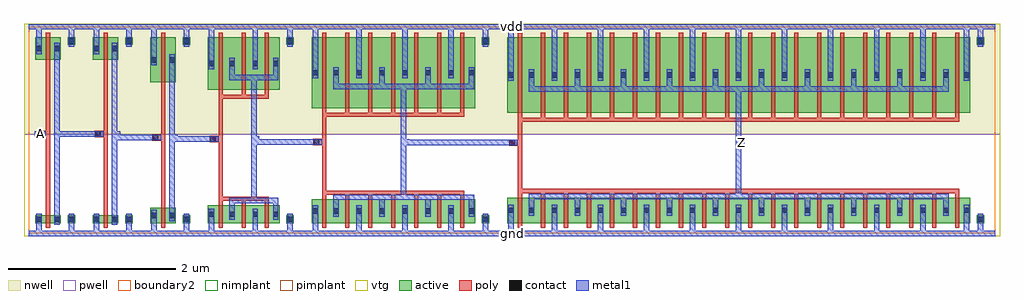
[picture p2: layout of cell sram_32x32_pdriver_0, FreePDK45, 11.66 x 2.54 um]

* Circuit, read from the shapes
.subckt sram_32x32_pdriver_0 A Z gnd vdd
M1 sram_32x32_pinv_6_1/A A gnd gnd nfet w=0.09u l=0.05u
M2 sram_32x32_pinv_7_2/A sram_32x32_pinv_6_1/A gnd gnd nfet w=0.09u l=0.05u
M3 sram_32x32_pinv_8_3/A sram_32x32_pinv_7_2/A gnd gnd nfet w=0.18u l=0.05u
M4 sram_32x32_pinv_9_4/A sram_32x32_pinv_8_3/A gnd gnd nfet w=0.21u l=0.05u m=3
M5 sram_32x32_pinv_10_5/A sram_32x32_pinv_9_4/A gnd gnd nfet w=0.2825u l=0.05u m=7
M6 Z sram_32x32_pinv_10_5/A gnd gnd nfet w=0.3025u l=0.05u m=20
M7 sram_32x32_pinv_6_1/A A vdd vdd pfet w=0.27u l=0.05u
M8 sram_32x32_pinv_7_2/A sram_32x32_pinv_6_1/A vdd vdd pfet w=0.27u l=0.05u
M9 sram_32x32_pinv_8_3/A sram_32x32_pinv_7_2/A vdd vdd pfet w=0.54u l=0.05u
M10 sram_32x32_pinv_9_4/A sram_32x32_pinv_8_3/A vdd vdd pfet w=0.63u l=0.05u m=3
M11 sram_32x32_pinv_10_5/A sram_32x32_pinv_9_4/A vdd vdd pfet w=0.8475u l=0.05u m=7
M12 Z sram_32x32_pinv_10_5/A vdd vdd pfet w=0.905u l=0.05u m=20
.ends

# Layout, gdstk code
import gdstk
lib = gdstk.Library(unit=1e-6, precision=5e-10)
def R(c, l, rs):  # rectangles x0, y0, x1, y1
    for r in rs: c.add(gdstk.rectangle(r[:2], r[2:], *l))
def A(c, l, x, y, w, h, nx, ny, dx, dy):  # array of equal rectangles
    R(c, l, [(x+i*dx, y+j*dy, x+i*dx+w, y+j*dy+h) for i in range(nx) for j in range(ny)])
active = (1, 0)
pwell = (2, 0)
nwell = (3, 0)
nimplant = (4, 0)
pimplant = (5, 0)
vtg = (6, 0)
poly = (9, 0)
contact = (10, 0)
metal1 = (11, 0)
boundary2 = (239, 0)

sram_32x32_contact_11 = lib.new_cell('sram_32x32_contact_11')
R(sram_32x32_contact_11, active, [(0,0.0225,0.09,0.1125)])
R(sram_32x32_contact_11, nwell, [(-0.055,-0.0325,0.145,0.1675)])
R(sram_32x32_contact_11, pimplant, [(0,0.0225,0.09,0.1125)])
R(sram_32x32_contact_11, contact, [(0.0125,0.035,0.0775,0.1)])
R(sram_32x32_contact_11, metal1, [(0.0125,0,0.0775,0.135)])
R(sram_32x32_contact_11, boundary2, [(-0.055,-0.0325,0.145,0.1675)])

sram_32x32_pmos_m1_w0_27 = lib.new_cell('sram_32x32_pmos_m1_w0_270_sm1_dm1_da_p')
R(sram_32x32_pmos_m1_w0_27, active, [(0,0,0.305,0.27)])
R(sram_32x32_pmos_m1_w0_27, nwell, [(-0.08,-0.08,0.385,0.35)])
R(sram_32x32_pmos_m1_w0_27, pimplant, [(0,0,0.305,0.27)])
R(sram_32x32_pmos_m1_w0_27, vtg, [(-0.08,-0.08,0.385,0.35)])
R(sram_32x32_pmos_m1_w0_27, poly, [(0.1275,-0.055,0.1775,0.325), (0.1275,-0.055,0.1775,0.325)])
R(sram_32x32_pmos_m1_w0_27, metal1, [(0.0125,0.0675,0.0775,0.2025), (0.2275,0.0675,0.2925,0.2025)])
R(sram_32x32_pmos_m1_w0_27, boundary2, [(-0.08,-0.08,0.385,0.35)])
sram_32x32_pmos_m1_w0_27.add(gdstk.Reference(sram_32x32_contact_11, (0,0.0675)))
sram_32x32_pmos_m1_w0_27.add(gdstk.Reference(sram_32x32_contact_11, (0.215,0.0675)))
sram_32x32_pmos_m1_w0_27.add(gdstk.Label('G', (0.1525,0.135), layer=9, texttype=0))
sram_32x32_pmos_m1_w0_27.add(gdstk.Label('S', (0.045,0.135), layer=11, texttype=0))
sram_32x32_pmos_m1_w0_27.add(gdstk.Label('D', (0.26,0.135), layer=11, texttype=0))

sram_32x32_contact_10 = lib.new_cell('sram_32x32_contact_10')
R(sram_32x32_contact_10, active, [(0,0.0225,0.09,0.1125)])
R(sram_32x32_contact_10, pwell, [(-0.055,-0.0325,0.145,0.1675)])
R(sram_32x32_contact_10, nimplant, [(0,0.0225,0.09,0.1125)])
R(sram_32x32_contact_10, contact, [(0.0125,0.035,0.0775,0.1)])
R(sram_32x32_contact_10, metal1, [(0.0125,0,0.0775,0.135)])
R(sram_32x32_contact_10, boundary2, [(-0.055,-0.0325,0.145,0.1675)])

sram_32x32_nmos_m1_w0_09 = lib.new_cell('sram_32x32_nmos_m1_w0_090_sm1_dm1_da_p')
R(sram_32x32_nmos_m1_w0_09, active, [(0,0,0.305,0.09)])
R(sram_32x32_nmos_m1_w0_09, pwell, [(-0.08,-0.08,0.385,0.17)])
R(sram_32x32_nmos_m1_w0_09, nimplant, [(0,0,0.305,0.09)])
R(sram_32x32_nmos_m1_w0_09, vtg, [(-0.08,-0.08,0.385,0.17)])
R(sram_32x32_nmos_m1_w0_09, poly, [(0.1275,-0.055,0.1775,0.145), (0.1275,-0.055,0.1775,0.145)])
R(sram_32x32_nmos_m1_w0_09, metal1, [(0.0125,-0.0225,0.0775,0.1125), (0.2275,-0.0225,0.2925,0.1125)])
R(sram_32x32_nmos_m1_w0_09, boundary2, [(-0.08,-0.08,0.385,0.17)])
sram_32x32_nmos_m1_w0_09.add(gdstk.Reference(sram_32x32_contact_10, (0,-0.0225)))
sram_32x32_nmos_m1_w0_09.add(gdstk.Reference(sram_32x32_contact_10, (0.215,-0.0225)))
sram_32x32_nmos_m1_w0_09.add(gdstk.Label('G', (0.1525,0.045), layer=9, texttype=0))
sram_32x32_nmos_m1_w0_09.add(gdstk.Label('S', (0.045,0.045), layer=11, texttype=0))
sram_32x32_nmos_m1_w0_09.add(gdstk.Label('D', (0.26,0.045), layer=11, texttype=0))

sram_32x32_contact_12 = lib.new_cell('sram_32x32_contact_12')
R(sram_32x32_contact_12, active, [(0,0.0225,0.09,0.1125)])
R(sram_32x32_contact_12, nwell, [(-0.055,-0.0325,0.145,0.1675)])
R(sram_32x32_contact_12, nimplant, [(0,0.0225,0.09,0.1125)])
R(sram_32x32_contact_12, contact, [(0.0125,0.035,0.0775,0.1)])
R(sram_32x32_contact_12, metal1, [(0.0125,0,0.0775,0.135)])
R(sram_32x32_contact_12, boundary2, [(-0.055,-0.0325,0.145,0.1675)])

sram_32x32_contact_13 = lib.new_cell('sram_32x32_contact_13')
R(sram_32x32_contact_13, active, [(0,0.0225,0.09,0.1125)])
R(sram_32x32_contact_13, pwell, [(-0.055,-0.0325,0.145,0.1675)])
R(sram_32x32_contact_13, pimplant, [(0,0.0225,0.09,0.1125)])
R(sram_32x32_contact_13, contact, [(0.0125,0.035,0.0775,0.1)])
R(sram_32x32_contact_13, metal1, [(0.0125,0,0.0775,0.135)])
R(sram_32x32_contact_13, boundary2, [(-0.055,-0.0325,0.145,0.1675)])

sram_32x32_contact_14 = lib.new_cell('sram_32x32_contact_14')
R(sram_32x32_contact_14, poly, [(0.03,0,0.105,0.075)])
R(sram_32x32_contact_14, contact, [(0.035,0.005,0.1,0.07)])
R(sram_32x32_contact_14, metal1, [(0,0.005,0.135,0.07)])
R(sram_32x32_contact_14, boundary2, [(0,0,0.135,0.075)])

sram_32x32_pinv_6 = lib.new_cell('sram_32x32_pinv_6')
R(sram_32x32_pinv_6, pwell, [(-0.055,-0.0325,0.7425,1.185)])
R(sram_32x32_pinv_6, nwell, [(-0.055,1.185,0.7425,2.505)])
R(sram_32x32_pinv_6, vtg, [(-0.055,-0.0325,0.7425,1.185), (-0.055,1.185,0.7425,2.505)])
R(sram_32x32_pinv_6, poly, [(0.2075,0.27,0.2575,2.02), (0.14,1.1525,0.2075,1.2275)])
R(sram_32x32_pinv_6, metal1, [(0,-0.0325,0.6875,0.0325), (0.0925,-0.0325,0.1575,0.1025), (0.4775,0,0.5425,0.17), (0.3075,0.1025,0.3725,2.2775), (0.0725,1.1575,0.2075,1.2225), (0.34,1.1575,0.405,1.2225), (0.0925,2.1425,0.1575,2.5025), (0.4775,2.3,0.5425,2.47), (0,2.4375,0.6875,2.5025)])
R(sram_32x32_pinv_6, boundary2, [(0,0,0.6875,2.47), (0,0,0.6875,2.47)])
sram_32x32_pinv_6.add(gdstk.Reference(sram_32x32_pmos_m1_w0_27, (0.08,2.075)))
sram_32x32_pinv_6.add(gdstk.Reference(sram_32x32_nmos_m1_w0_09, (0.08,0.125)))
sram_32x32_pinv_6.add(gdstk.Reference(sram_32x32_contact_12, (0.465,2.2325)))
sram_32x32_pinv_6.add(gdstk.Reference(sram_32x32_contact_13, (0.465,0.1025)))
sram_32x32_pinv_6.add(gdstk.Reference(sram_32x32_contact_14, (0.0725,1.1525)))
sram_32x32_pinv_6.add(gdstk.Label('A', (0.14,1.19), layer=11, texttype=0))
sram_32x32_pinv_6.add(gdstk.Label('Z', (0.3725,1.19), layer=11, texttype=0))
sram_32x32_pinv_6.add(gdstk.Label('gnd', (0.344,0), layer=11, texttype=0))
sram_32x32_pinv_6.add(gdstk.Label('vdd', (0.344,2.47), layer=11, texttype=0))

sram_32x32_pmos_m1_w0_54 = lib.new_cell('sram_32x32_pmos_m1_w0_540_sm1_dm1_da_p')
R(sram_32x32_pmos_m1_w0_54, active, [(0,0,0.305,0.54)])
R(sram_32x32_pmos_m1_w0_54, nwell, [(-0.08,-0.08,0.385,0.62)])
R(sram_32x32_pmos_m1_w0_54, pimplant, [(0,0,0.305,0.54)])
R(sram_32x32_pmos_m1_w0_54, vtg, [(-0.08,-0.08,0.385,0.62)])
R(sram_32x32_pmos_m1_w0_54, poly, [(0.1275,-0.055,0.1775,0.595), (0.1275,-0.055,0.1775,0.595)])
R(sram_32x32_pmos_m1_w0_54, metal1, [(0.0125,0.2025,0.0775,0.3375), (0.2275,0.2025,0.2925,0.3375)])
R(sram_32x32_pmos_m1_w0_54, boundary2, [(-0.08,-0.08,0.385,0.62)])
sram_32x32_pmos_m1_w0_54.add(gdstk.Reference(sram_32x32_contact_11, (0,0.2025)))
sram_32x32_pmos_m1_w0_54.add(gdstk.Reference(sram_32x32_contact_11, (0.215,0.2025)))
sram_32x32_pmos_m1_w0_54.add(gdstk.Label('G', (0.1525,0.27), layer=9, texttype=0))
sram_32x32_pmos_m1_w0_54.add(gdstk.Label('S', (0.045,0.27), layer=11, texttype=0))
sram_32x32_pmos_m1_w0_54.add(gdstk.Label('D', (0.26,0.27), layer=11, texttype=0))

sram_32x32_nmos_m1_w0_18 = lib.new_cell('sram_32x32_nmos_m1_w0_180_sm1_dm1_da_p')
R(sram_32x32_nmos_m1_w0_18, active, [(0,0,0.305,0.18)])
R(sram_32x32_nmos_m1_w0_18, pwell, [(-0.08,-0.08,0.385,0.26)])
R(sram_32x32_nmos_m1_w0_18, nimplant, [(0,0,0.305,0.18)])
R(sram_32x32_nmos_m1_w0_18, vtg, [(-0.08,-0.08,0.385,0.26)])
R(sram_32x32_nmos_m1_w0_18, poly, [(0.1275,-0.055,0.1775,0.235), (0.1275,-0.055,0.1775,0.235)])
R(sram_32x32_nmos_m1_w0_18, metal1, [(0.0125,0.0225,0.0775,0.1575), (0.2275,0.0225,0.2925,0.1575)])
R(sram_32x32_nmos_m1_w0_18, boundary2, [(-0.08,-0.08,0.385,0.26)])
sram_32x32_nmos_m1_w0_18.add(gdstk.Reference(sram_32x32_contact_10, (0,0.0225)))
sram_32x32_nmos_m1_w0_18.add(gdstk.Reference(sram_32x32_contact_10, (0.215,0.0225)))
sram_32x32_nmos_m1_w0_18.add(gdstk.Label('G', (0.1525,0.09), layer=9, texttype=0))
sram_32x32_nmos_m1_w0_18.add(gdstk.Label('S', (0.045,0.09), layer=11, texttype=0))
sram_32x32_nmos_m1_w0_18.add(gdstk.Label('D', (0.26,0.09), layer=11, texttype=0))

sram_32x32_pinv_7 = lib.new_cell('sram_32x32_pinv_7')
R(sram_32x32_pinv_7, pwell, [(-0.055,-0.0325,0.7425,1.185)])
R(sram_32x32_pinv_7, nwell, [(-0.055,1.185,0.7425,2.505)])
R(sram_32x32_pinv_7, vtg, [(-0.055,-0.0325,0.7425,1.185), (-0.055,1.185,0.7425,2.505)])
R(sram_32x32_pinv_7, poly, [(0.2075,0.36,0.2575,1.75), (0.14,1.1075,0.2075,1.1825)])
R(sram_32x32_pinv_7, metal1, [(0,-0.0325,0.6875,0.0325), (0.0925,-0.0325,0.1575,0.1475), (0.4775,0,0.5425,0.17), (0.3075,0.1475,0.3725,2.1425), (0.0725,1.1125,0.2075,1.1775), (0.34,1.1125,0.405,1.1775), (0.0925,2.0075,0.1575,2.5025), (0.4775,2.3,0.5425,2.47), (0,2.4375,0.6875,2.5025)])
R(sram_32x32_pinv_7, boundary2, [(0,0,0.6875,2.47), (0,0,0.6875,2.47)])
sram_32x32_pinv_7.add(gdstk.Reference(sram_32x32_pmos_m1_w0_54, (0.08,1.805)))
sram_32x32_pinv_7.add(gdstk.Reference(sram_32x32_nmos_m1_w0_18, (0.08,0.125)))
sram_32x32_pinv_7.add(gdstk.Reference(sram_32x32_contact_12, (0.465,2.2325)))
sram_32x32_pinv_7.add(gdstk.Reference(sram_32x32_contact_13, (0.465,0.1025)))
sram_32x32_pinv_7.add(gdstk.Reference(sram_32x32_contact_14, (0.0725,1.1075)))
sram_32x32_pinv_7.add(gdstk.Label('A', (0.14,1.145), layer=11, texttype=0))
sram_32x32_pinv_7.add(gdstk.Label('Z', (0.3725,1.145), layer=11, texttype=0))
sram_32x32_pinv_7.add(gdstk.Label('gnd', (0.344,0), layer=11, texttype=0))
sram_32x32_pinv_7.add(gdstk.Label('vdd', (0.344,2.47), layer=11, texttype=0))

sram_32x32_pmos_m3_w0_63 = lib.new_cell('sram_32x32_pmos_m3_w0_630_sm1_dm1_da_p')
R(sram_32x32_pmos_m3_w0_63, active, [(0,0,0.855,0.63)])
R(sram_32x32_pmos_m3_w0_63, nwell, [(-0.08,-0.08,0.935,0.71)])
R(sram_32x32_pmos_m3_w0_63, pimplant, [(0,0,0.855,0.63)])
R(sram_32x32_pmos_m3_w0_63, vtg, [(-0.08,-0.08,0.935,0.71)])
A(sram_32x32_pmos_m3_w0_63, poly, 0.1275, -0.055, 0.05, 0.74, 3, 1, 0.275, 0)
R(sram_32x32_pmos_m3_w0_63, poly, [(0.1275,-0.105,0.7275,-0.055)])
R(sram_32x32_pmos_m3_w0_63, metal1, [(0.2575,0.1175,0.8425,0.1825), (0.2575,0.15,0.3225,0.315), (0.7775,0.15,0.8425,0.315), (0.0125,0.2475,0.0775,0.3825), (0.5325,0.2475,0.5975,0.3825)])
R(sram_32x32_pmos_m3_w0_63, boundary2, [(-0.08,-0.105,0.935,0.71)])
sram_32x32_pmos_m3_w0_63.add(gdstk.Reference(sram_32x32_contact_11, (0,0.2475)))
sram_32x32_pmos_m3_w0_63.add(gdstk.Reference(sram_32x32_contact_11, (0.245,0.2475)))
sram_32x32_pmos_m3_w0_63.add(gdstk.Reference(sram_32x32_contact_11, (0.52,0.2475)))
sram_32x32_pmos_m3_w0_63.add(gdstk.Reference(sram_32x32_contact_11, (0.765,0.2475)))
sram_32x32_pmos_m3_w0_63.add(gdstk.Label('G', (0.4275,-0.08), layer=9, texttype=0))
sram_32x32_pmos_m3_w0_63.add(gdstk.Label('S', (0.045,0.315), layer=11, texttype=0))
sram_32x32_pmos_m3_w0_63.add(gdstk.Label('S', (0.565,0.315), layer=11, texttype=0))
sram_32x32_pmos_m3_w0_63.add(gdstk.Label('D', (0.55,0.15), layer=11, texttype=0))

sram_32x32_nmos_m3_w0_21 = lib.new_cell('sram_32x32_nmos_m3_w0_210_sm1_dm1_da_p')
R(sram_32x32_nmos_m3_w0_21, active, [(0,0,0.855,0.21)])
R(sram_32x32_nmos_m3_w0_21, pwell, [(-0.08,-0.08,0.935,0.29)])
R(sram_32x32_nmos_m3_w0_21, nimplant, [(0,0,0.855,0.21)])
R(sram_32x32_nmos_m3_w0_21, vtg, [(-0.08,-0.08,0.935,0.29)])
A(sram_32x32_nmos_m3_w0_21, poly, 0.1275, -0.055, 0.05, 0.32, 3, 1, 0.275, 0)
R(sram_32x32_nmos_m3_w0_21, poly, [(0.1275,0.265,0.7275,0.315)])
R(sram_32x32_nmos_m3_w0_21, metal1, [(0.0125,0.0375,0.0775,0.1725), (0.5325,0.0375,0.5975,0.1725), (0.2575,0.105,0.3225,0.27), (0.7775,0.105,0.8425,0.27), (0.2575,0.2375,0.8425,0.3025)])
R(sram_32x32_nmos_m3_w0_21, boundary2, [(-0.08,-0.08,0.935,0.315)])
sram_32x32_nmos_m3_w0_21.add(gdstk.Reference(sram_32x32_contact_10, (0,0.0375)))
sram_32x32_nmos_m3_w0_21.add(gdstk.Reference(sram_32x32_contact_10, (0.245,0.0375)))
sram_32x32_nmos_m3_w0_21.add(gdstk.Reference(sram_32x32_contact_10, (0.52,0.0375)))
sram_32x32_nmos_m3_w0_21.add(gdstk.Reference(sram_32x32_contact_10, (0.765,0.0375)))
sram_32x32_nmos_m3_w0_21.add(gdstk.Label('G', (0.4275,0.29), layer=9, texttype=0))
sram_32x32_nmos_m3_w0_21.add(gdstk.Label('S', (0.565,0.105), layer=11, texttype=0))
sram_32x32_nmos_m3_w0_21.add(gdstk.Label('S', (0.045,0.105), layer=11, texttype=0))
sram_32x32_nmos_m3_w0_21.add(gdstk.Label('D', (0.55,0.27), layer=11, texttype=0))

sram_32x32_pinv_8 = lib.new_cell('sram_32x32_pinv_8')
R(sram_32x32_pinv_8, pwell, [(-0.055,-0.0325,1.2925,1.185)])
R(sram_32x32_pinv_8, nwell, [(-0.055,1.185,1.2925,2.505)])
R(sram_32x32_pinv_8, vtg, [(-0.055,-0.0325,1.2925,1.185), (-0.055,1.185,1.2925,2.505)])
R(sram_32x32_pinv_8, poly, [(0.2075,0.44,0.2575,1.61), (0.14,1.0925,0.2075,1.1675)])
R(sram_32x32_pinv_8, metal1, [(0,-0.0325,1.2375,0.0325), (0.0925,-0.0325,0.1575,0.1625), (0.6125,-0.0325,0.6775,0.1625), (1.0275,0,1.0925,0.17), (0.5975,0.3625,0.6625,1.8975), (0.0725,1.0975,0.2075,1.1625), (0.63,1.0975,0.695,1.1625), (0.0925,1.9625,0.1575,2.5025), (0.6125,1.9625,0.6775,2.5025), (1.0275,2.3,1.0925,2.47), (0,2.4375,1.2375,2.5025)])
R(sram_32x32_pinv_8, boundary2, [(0,0,1.2375,2.47), (0,0,1.2375,2.47)])
sram_32x32_pinv_8.add(gdstk.Reference(sram_32x32_pmos_m3_w0_63, (0.08,1.715)))
sram_32x32_pinv_8.add(gdstk.Reference(sram_32x32_nmos_m3_w0_21, (0.08,0.125)))
sram_32x32_pinv_8.add(gdstk.Reference(sram_32x32_contact_12, (1.015,2.2325)))
sram_32x32_pinv_8.add(gdstk.Reference(sram_32x32_contact_13, (1.015,0.1025)))
sram_32x32_pinv_8.add(gdstk.Reference(sram_32x32_contact_14, (0.0725,1.0925)))
sram_32x32_pinv_8.add(gdstk.Label('A', (0.14,1.13), layer=11, texttype=0))
sram_32x32_pinv_8.add(gdstk.Label('Z', (0.6625,1.13), layer=11, texttype=0))
sram_32x32_pinv_8.add(gdstk.Label('gnd', (0.619,0), layer=11, texttype=0))
sram_32x32_pinv_8.add(gdstk.Label('vdd', (0.619,2.47), layer=11, texttype=0))

sram_32x32_pmos_m7_w0_84 = lib.new_cell('sram_32x32_pmos_m7_w0_848_sm1_dm1_da_p')
R(sram_32x32_pmos_m7_w0_84, active, [(0,0,1.955,0.8475)])
R(sram_32x32_pmos_m7_w0_84, nwell, [(-0.08,-0.08,2.035,0.9275)])
R(sram_32x32_pmos_m7_w0_84, pimplant, [(0,0,1.955,0.8475)])
R(sram_32x32_pmos_m7_w0_84, vtg, [(-0.08,-0.08,2.035,0.9275)])
A(sram_32x32_pmos_m7_w0_84, poly, 0.1275, -0.055, 0.05, 0.9575, 7, 1, 0.275, 0)
R(sram_32x32_pmos_m7_w0_84, poly, [(0.1275,-0.105,1.8275,-0.055)])
A(sram_32x32_pmos_m7_w0_84, metal1, 0.2575, 0.26, 0.065, 0.165, 3, 1, 0.55, 0)
A(sram_32x32_pmos_m7_w0_84, metal1, 0.5325, 0.355, 0.065, 0.135, 3, 1, 0.55, 0)
R(sram_32x32_pmos_m7_w0_84, metal1, [(0.2575,0.225,1.9425,0.29), (1.8775,0.26,1.9425,0.425), (0.0125,0.355,0.0775,0.49)])
R(sram_32x32_pmos_m7_w0_84, boundary2, [(-0.08,-0.105,2.035,0.9275)])
sram_32x32_pmos_m7_w0_84.add(gdstk.Reference(sram_32x32_contact_11, (0,0.355)))
sram_32x32_pmos_m7_w0_84.add(gdstk.Reference(sram_32x32_contact_11, (0.245,0.355)))
sram_32x32_pmos_m7_w0_84.add(gdstk.Reference(sram_32x32_contact_11, (0.52,0.355)))
sram_32x32_pmos_m7_w0_84.add(gdstk.Reference(sram_32x32_contact_11, (0.795,0.355)))
sram_32x32_pmos_m7_w0_84.add(gdstk.Reference(sram_32x32_contact_11, (1.07,0.355)))
sram_32x32_pmos_m7_w0_84.add(gdstk.Reference(sram_32x32_contact_11, (1.345,0.355)))
sram_32x32_pmos_m7_w0_84.add(gdstk.Reference(sram_32x32_contact_11, (1.62,0.355)))
sram_32x32_pmos_m7_w0_84.add(gdstk.Reference(sram_32x32_contact_11, (1.865,0.355)))
sram_32x32_pmos_m7_w0_84.add(gdstk.Label('G', (0.9775,-0.08), layer=9, texttype=0))
sram_32x32_pmos_m7_w0_84.add(gdstk.Label('S', (1.665,0.4225), layer=11, texttype=0))
sram_32x32_pmos_m7_w0_84.add(gdstk.Label('S', (1.115,0.4225), layer=11, texttype=0))
sram_32x32_pmos_m7_w0_84.add(gdstk.Label('S', (0.565,0.4225), layer=11, texttype=0))
sram_32x32_pmos_m7_w0_84.add(gdstk.Label('S', (0.045,0.4225), layer=11, texttype=0))
sram_32x32_pmos_m7_w0_84.add(gdstk.Label('D', (1.1,0.2575), layer=11, texttype=0))

sram_32x32_nmos_m7_w0_28 = lib.new_cell('sram_32x32_nmos_m7_w0_283_sm1_dm1_da_p')
R(sram_32x32_nmos_m7_w0_28, active, [(0,0,1.955,0.2825)])
R(sram_32x32_nmos_m7_w0_28, pwell, [(-0.08,-0.08,2.035,0.3625)])
R(sram_32x32_nmos_m7_w0_28, nimplant, [(0,0,1.955,0.2825)])
R(sram_32x32_nmos_m7_w0_28, vtg, [(-0.08,-0.08,2.035,0.3625)])
A(sram_32x32_nmos_m7_w0_28, poly, 0.1275, -0.055, 0.05, 0.3925, 7, 1, 0.275, 0)
R(sram_32x32_nmos_m7_w0_28, poly, [(0.1275,0.3375,1.8275,0.3875)])
A(sram_32x32_nmos_m7_w0_28, metal1, 0.5325, 0.075, 0.065, 0.135, 3, 1, 0.55, 0)
A(sram_32x32_nmos_m7_w0_28, metal1, 0.2575, 0.14, 0.065, 0.165, 3, 1, 0.55, 0)
R(sram_32x32_nmos_m7_w0_28, metal1, [(0.0125,0.075,0.0775,0.21), (1.8775,0.14,1.9425,0.305), (0.2575,0.275,1.9425,0.34)])
R(sram_32x32_nmos_m7_w0_28, boundary2, [(-0.08,-0.08,2.035,0.3875)])
sram_32x32_nmos_m7_w0_28.add(gdstk.Reference(sram_32x32_contact_10, (0,0.075)))
sram_32x32_nmos_m7_w0_28.add(gdstk.Reference(sram_32x32_contact_10, (0.245,0.075)))
sram_32x32_nmos_m7_w0_28.add(gdstk.Reference(sram_32x32_contact_10, (0.52,0.075)))
sram_32x32_nmos_m7_w0_28.add(gdstk.Reference(sram_32x32_contact_10, (0.795,0.075)))
sram_32x32_nmos_m7_w0_28.add(gdstk.Reference(sram_32x32_contact_10, (1.07,0.075)))
sram_32x32_nmos_m7_w0_28.add(gdstk.Reference(sram_32x32_contact_10, (1.345,0.075)))
sram_32x32_nmos_m7_w0_28.add(gdstk.Reference(sram_32x32_contact_10, (1.62,0.075)))
sram_32x32_nmos_m7_w0_28.add(gdstk.Reference(sram_32x32_contact_10, (1.865,0.075)))
sram_32x32_nmos_m7_w0_28.add(gdstk.Label('G', (0.9775,0.3625), layer=9, texttype=0))
sram_32x32_nmos_m7_w0_28.add(gdstk.Label('S', (1.665,0.1425), layer=11, texttype=0))
sram_32x32_nmos_m7_w0_28.add(gdstk.Label('S', (1.115,0.1425), layer=11, texttype=0))
sram_32x32_nmos_m7_w0_28.add(gdstk.Label('S', (0.565,0.1425), layer=11, texttype=0))
sram_32x32_nmos_m7_w0_28.add(gdstk.Label('S', (0.045,0.1425), layer=11, texttype=0))
sram_32x32_nmos_m7_w0_28.add(gdstk.Label('D', (1.1,0.3075), layer=11, texttype=0))

sram_32x32_pinv_9 = lib.new_cell('sram_32x32_pinv_9')
R(sram_32x32_pinv_9, pwell, [(-0.055,-0.0325,2.3925,1.185)])
R(sram_32x32_pinv_9, nwell, [(-0.055,1.185,2.3925,2.505)])
R(sram_32x32_pinv_9, vtg, [(-0.055,-0.0325,2.3925,1.185), (-0.055,1.185,2.3925,2.505)])
R(sram_32x32_pinv_9, poly, [(0.2075,0.5125,0.2575,1.3925), (0.14,1.055,0.2075,1.13)])
A(sram_32x32_pinv_9, metal1, 0.6125, -0.0325, 0.065, 0.2325, 3, 1, 0.55, 0)
A(sram_32x32_pinv_9, metal1, 0.6125, 1.8525, 0.065, 0.65, 3, 1, 0.55, 0)
R(sram_32x32_pinv_9, metal1, [(0,-0.0325,2.3375,0.0325), (0.0925,-0.0325,0.1575,0.2), (2.1275,0,2.1925,0.17), (1.1475,0.4,1.2125,1.7875), (0.0725,1.06,0.2075,1.125), (1.18,1.06,1.245,1.125), (0.0925,1.8525,0.1575,2.5025), (2.1275,2.3,2.1925,2.47), (0,2.4375,2.3375,2.5025)])
R(sram_32x32_pinv_9, boundary2, [(0,0,2.3375,2.47), (0,0,2.3375,2.47)])
sram_32x32_pinv_9.add(gdstk.Reference(sram_32x32_pmos_m7_w0_84, (0.08,1.4975)))
sram_32x32_pinv_9.add(gdstk.Reference(sram_32x32_nmos_m7_w0_28, (0.08,0.125)))
sram_32x32_pinv_9.add(gdstk.Reference(sram_32x32_contact_12, (2.115,2.2325)))
sram_32x32_pinv_9.add(gdstk.Reference(sram_32x32_contact_13, (2.115,0.1025)))
sram_32x32_pinv_9.add(gdstk.Reference(sram_32x32_contact_14, (0.0725,1.055)))
sram_32x32_pinv_9.add(gdstk.Label('A', (0.14,1.0925), layer=11, texttype=0))
sram_32x32_pinv_9.add(gdstk.Label('Z', (1.2125,1.0925), layer=11, texttype=0))
sram_32x32_pinv_9.add(gdstk.Label('gnd', (1.169,0), layer=11, texttype=0))
sram_32x32_pinv_9.add(gdstk.Label('vdd', (1.169,2.47), layer=11, texttype=0))

sram_32x32_pmos_m20_w0_9 = lib.new_cell('sram_32x32_pmos_m20_w0_905_sm1_dm1_da_p')
R(sram_32x32_pmos_m20_w0_9, active, [(0,0,5.53,0.905)])
R(sram_32x32_pmos_m20_w0_9, nwell, [(-0.08,-0.08,5.61,0.985)])
R(sram_32x32_pmos_m20_w0_9, pimplant, [(0,0,5.53,0.905)])
R(sram_32x32_pmos_m20_w0_9, vtg, [(-0.08,-0.08,5.61,0.985)])
A(sram_32x32_pmos_m20_w0_9, poly, 0.1275, -0.055, 0.05, 1.015, 20, 1, 0.275, 0)
R(sram_32x32_pmos_m20_w0_9, poly, [(0.1275,-0.105,5.4025,-0.055)])
A(sram_32x32_pmos_m20_w0_9, metal1, 0.2575, 0.2875, 0.065, 0.165, 10, 1, 0.55, 0)
A(sram_32x32_pmos_m20_w0_9, metal1, 0.5325, 0.385, 0.065, 0.135, 9, 1, 0.55, 0)
R(sram_32x32_pmos_m20_w0_9, metal1, [(0.2575,0.255,5.2725,0.32), (0.0125,0.385,0.0775,0.52), (5.4525,0.385,5.5175,0.52)])
R(sram_32x32_pmos_m20_w0_9, boundary2, [(-0.08,-0.105,5.61,0.985)])
sram_32x32_pmos_m20_w0_9.add(gdstk.Reference(sram_32x32_contact_11, (0,0.385)))
sram_32x32_pmos_m20_w0_9.add(gdstk.Reference(sram_32x32_contact_11, (0.245,0.385)))
sram_32x32_pmos_m20_w0_9.add(gdstk.Reference(sram_32x32_contact_11, (0.52,0.385)))
sram_32x32_pmos_m20_w0_9.add(gdstk.Reference(sram_32x32_contact_11, (0.795,0.385)))
sram_32x32_pmos_m20_w0_9.add(gdstk.Reference(sram_32x32_contact_11, (1.07,0.385)))
sram_32x32_pmos_m20_w0_9.add(gdstk.Reference(sram_32x32_contact_11, (1.345,0.385)))
sram_32x32_pmos_m20_w0_9.add(gdstk.Reference(sram_32x32_contact_11, (1.62,0.385)))
sram_32x32_pmos_m20_w0_9.add(gdstk.Reference(sram_32x32_contact_11, (1.895,0.385)))
sram_32x32_pmos_m20_w0_9.add(gdstk.Reference(sram_32x32_contact_11, (2.17,0.385)))
sram_32x32_pmos_m20_w0_9.add(gdstk.Reference(sram_32x32_contact_11, (2.445,0.385)))
sram_32x32_pmos_m20_w0_9.add(gdstk.Reference(sram_32x32_contact_11, (2.72,0.385)))
sram_32x32_pmos_m20_w0_9.add(gdstk.Reference(sram_32x32_contact_11, (2.995,0.385)))
sram_32x32_pmos_m20_w0_9.add(gdstk.Reference(sram_32x32_contact_11, (3.27,0.385)))
sram_32x32_pmos_m20_w0_9.add(gdstk.Reference(sram_32x32_contact_11, (3.545,0.385)))
sram_32x32_pmos_m20_w0_9.add(gdstk.Reference(sram_32x32_contact_11, (3.82,0.385)))
sram_32x32_pmos_m20_w0_9.add(gdstk.Reference(sram_32x32_contact_11, (4.095,0.385)))
sram_32x32_pmos_m20_w0_9.add(gdstk.Reference(sram_32x32_contact_11, (4.37,0.385)))
sram_32x32_pmos_m20_w0_9.add(gdstk.Reference(sram_32x32_contact_11, (4.645,0.385)))
sram_32x32_pmos_m20_w0_9.add(gdstk.Reference(sram_32x32_contact_11, (4.92,0.385)))
sram_32x32_pmos_m20_w0_9.add(gdstk.Reference(sram_32x32_contact_11, (5.195,0.385)))
sram_32x32_pmos_m20_w0_9.add(gdstk.Reference(sram_32x32_contact_11, (5.44,0.385)))
sram_32x32_pmos_m20_w0_9.add(gdstk.Label('G', (2.765,-0.08), layer=9, texttype=0))
sram_32x32_pmos_m20_w0_9.add(gdstk.Label('S', (0.045,0.4525), layer=11, texttype=0))
sram_32x32_pmos_m20_w0_9.add(gdstk.Label('S', (2.215,0.4525), layer=11, texttype=0))
sram_32x32_pmos_m20_w0_9.add(gdstk.Label('S', (5.485,0.4525), layer=11, texttype=0))
sram_32x32_pmos_m20_w0_9.add(gdstk.Label('S', (4.415,0.4525), layer=11, texttype=0))
sram_32x32_pmos_m20_w0_9.add(gdstk.Label('S', (1.665,0.4525), layer=11, texttype=0))
sram_32x32_pmos_m20_w0_9.add(gdstk.Label('S', (3.315,0.4525), layer=11, texttype=0))
sram_32x32_pmos_m20_w0_9.add(gdstk.Label('S', (2.765,0.4525), layer=11, texttype=0))
sram_32x32_pmos_m20_w0_9.add(gdstk.Label('S', (3.865,0.4525), layer=11, texttype=0))
sram_32x32_pmos_m20_w0_9.add(gdstk.Label('S', (1.115,0.4525), layer=11, texttype=0))
sram_32x32_pmos_m20_w0_9.add(gdstk.Label('S', (4.965,0.4525), layer=11, texttype=0))
sram_32x32_pmos_m20_w0_9.add(gdstk.Label('S', (0.565,0.4525), layer=11, texttype=0))
sram_32x32_pmos_m20_w0_9.add(gdstk.Label('D', (2.765,0.2875), layer=11, texttype=0))

sram_32x32_nmos_m20_w0_3 = lib.new_cell('sram_32x32_nmos_m20_w0_302_sm1_dm1_da_p')
R(sram_32x32_nmos_m20_w0_3, active, [(0,0,5.53,0.3025)])
R(sram_32x32_nmos_m20_w0_3, pwell, [(-0.08,-0.08,5.61,0.3825)])
R(sram_32x32_nmos_m20_w0_3, nimplant, [(0,0,5.53,0.3025)])
R(sram_32x32_nmos_m20_w0_3, vtg, [(-0.08,-0.08,5.61,0.3825)])
A(sram_32x32_nmos_m20_w0_3, poly, 0.1275, -0.055, 0.05, 0.4125, 20, 1, 0.275, 0)
R(sram_32x32_nmos_m20_w0_3, poly, [(0.1275,0.3575,5.4025,0.4075)])
A(sram_32x32_nmos_m20_w0_3, metal1, 0.5325, 0.085, 0.065, 0.135, 9, 1, 0.55, 0)
A(sram_32x32_nmos_m20_w0_3, metal1, 0.2575, 0.15, 0.065, 0.165, 10, 1, 0.55, 0)
R(sram_32x32_nmos_m20_w0_3, metal1, [(0.0125,0.085,0.0775,0.22), (5.4525,0.085,5.5175,0.22), (0.2575,0.285,5.2725,0.35)])
R(sram_32x32_nmos_m20_w0_3, boundary2, [(-0.08,-0.08,5.61,0.4075)])
sram_32x32_nmos_m20_w0_3.add(gdstk.Reference(sram_32x32_contact_10, (0,0.085)))
sram_32x32_nmos_m20_w0_3.add(gdstk.Reference(sram_32x32_contact_10, (0.245,0.085)))
sram_32x32_nmos_m20_w0_3.add(gdstk.Reference(sram_32x32_contact_10, (0.52,0.085)))
sram_32x32_nmos_m20_w0_3.add(gdstk.Reference(sram_32x32_contact_10, (0.795,0.085)))
sram_32x32_nmos_m20_w0_3.add(gdstk.Reference(sram_32x32_contact_10, (1.07,0.085)))
sram_32x32_nmos_m20_w0_3.add(gdstk.Reference(sram_32x32_contact_10, (1.345,0.085)))
sram_32x32_nmos_m20_w0_3.add(gdstk.Reference(sram_32x32_contact_10, (1.62,0.085)))
sram_32x32_nmos_m20_w0_3.add(gdstk.Reference(sram_32x32_contact_10, (1.895,0.085)))
sram_32x32_nmos_m20_w0_3.add(gdstk.Reference(sram_32x32_contact_10, (2.17,0.085)))
sram_32x32_nmos_m20_w0_3.add(gdstk.Reference(sram_32x32_contact_10, (2.445,0.085)))
sram_32x32_nmos_m20_w0_3.add(gdstk.Reference(sram_32x32_contact_10, (2.72,0.085)))
sram_32x32_nmos_m20_w0_3.add(gdstk.Reference(sram_32x32_contact_10, (2.995,0.085)))
sram_32x32_nmos_m20_w0_3.add(gdstk.Reference(sram_32x32_contact_10, (3.27,0.085)))
sram_32x32_nmos_m20_w0_3.add(gdstk.Reference(sram_32x32_contact_10, (3.545,0.085)))
sram_32x32_nmos_m20_w0_3.add(gdstk.Reference(sram_32x32_contact_10, (3.82,0.085)))
sram_32x32_nmos_m20_w0_3.add(gdstk.Reference(sram_32x32_contact_10, (4.095,0.085)))
sram_32x32_nmos_m20_w0_3.add(gdstk.Reference(sram_32x32_contact_10, (4.37,0.085)))
sram_32x32_nmos_m20_w0_3.add(gdstk.Reference(sram_32x32_contact_10, (4.645,0.085)))
sram_32x32_nmos_m20_w0_3.add(gdstk.Reference(sram_32x32_contact_10, (4.92,0.085)))
sram_32x32_nmos_m20_w0_3.add(gdstk.Reference(sram_32x32_contact_10, (5.195,0.085)))
sram_32x32_nmos_m20_w0_3.add(gdstk.Reference(sram_32x32_contact_10, (5.44,0.085)))
sram_32x32_nmos_m20_w0_3.add(gdstk.Label('G', (2.765,0.3825), layer=9, texttype=0))
sram_32x32_nmos_m20_w0_3.add(gdstk.Label('S', (3.315,0.1525), layer=11, texttype=0))
sram_32x32_nmos_m20_w0_3.add(gdstk.Label('S', (1.665,0.1525), layer=11, texttype=0))
sram_32x32_nmos_m20_w0_3.add(gdstk.Label('S', (4.965,0.1525), layer=11, texttype=0))
sram_32x32_nmos_m20_w0_3.add(gdstk.Label('S', (0.045,0.1525), layer=11, texttype=0))
sram_32x32_nmos_m20_w0_3.add(gdstk.Label('S', (4.415,0.1525), layer=11, texttype=0))
sram_32x32_nmos_m20_w0_3.add(gdstk.Label('S', (1.115,0.1525), layer=11, texttype=0))
sram_32x32_nmos_m20_w0_3.add(gdstk.Label('S', (2.765,0.1525), layer=11, texttype=0))
sram_32x32_nmos_m20_w0_3.add(gdstk.Label('S', (3.865,0.1525), layer=11, texttype=0))
sram_32x32_nmos_m20_w0_3.add(gdstk.Label('S', (2.215,0.1525), layer=11, texttype=0))
sram_32x32_nmos_m20_w0_3.add(gdstk.Label('S', (0.565,0.1525), layer=11, texttype=0))
sram_32x32_nmos_m20_w0_3.add(gdstk.Label('S', (5.485,0.1525), layer=11, texttype=0))
sram_32x32_nmos_m20_w0_3.add(gdstk.Label('D', (2.765,0.3175), layer=11, texttype=0))

sram_32x32_pinv_10 = lib.new_cell('sram_32x32_pinv_10')
R(sram_32x32_pinv_10, pwell, [(-0.055,-0.0325,5.9675,1.185)])
R(sram_32x32_pinv_10, nwell, [(-0.055,1.185,5.9675,2.505)])
R(sram_32x32_pinv_10, vtg, [(-0.055,-0.0325,5.9675,1.185), (-0.055,1.185,5.9675,2.505)])
R(sram_32x32_pinv_10, poly, [(0.2075,0.5325,0.2575,1.335), (0.14,1.0475,0.2075,1.1225)])
A(sram_32x32_pinv_10, metal1, 0.6125, -0.0325, 0.065, 0.2425, 9, 1, 0.55, 0)
A(sram_32x32_pinv_10, metal1, 0.6125, 1.825, 0.065, 0.6775, 9, 1, 0.55, 0)
R(sram_32x32_pinv_10, metal1, [(0,-0.0325,5.9125,0.0325), (0.0925,-0.0325,0.1575,0.21), (5.5325,-0.0325,5.5975,0.21), (5.7025,0,5.7675,0.17), (2.8125,0.41,2.8775,1.76), (0.0725,1.0525,0.2075,1.1175), (2.845,1.0525,2.91,1.1175), (0.0925,1.825,0.1575,2.5025), (5.5325,1.825,5.5975,2.5025), (5.7025,2.3,5.7675,2.47), (0,2.4375,5.9125,2.5025)])
R(sram_32x32_pinv_10, boundary2, [(0,0,5.9125,2.47), (0,0,5.9125,2.47)])
sram_32x32_pinv_10.add(gdstk.Reference(sram_32x32_pmos_m20_w0_9, (0.08,1.44)))
sram_32x32_pinv_10.add(gdstk.Reference(sram_32x32_nmos_m20_w0_3, (0.08,0.125)))
sram_32x32_pinv_10.add(gdstk.Reference(sram_32x32_contact_12, (5.69,2.2325)))
sram_32x32_pinv_10.add(gdstk.Reference(sram_32x32_contact_13, (5.69,0.1025)))
sram_32x32_pinv_10.add(gdstk.Reference(sram_32x32_contact_14, (0.0725,1.0475)))
sram_32x32_pinv_10.add(gdstk.Label('A', (0.14,1.085), layer=11, texttype=0))
sram_32x32_pinv_10.add(gdstk.Label('Z', (2.8775,1.085), layer=11, texttype=0))
sram_32x32_pinv_10.add(gdstk.Label('gnd', (2.9565,0), layer=11, texttype=0))
sram_32x32_pinv_10.add(gdstk.Label('vdd', (2.9565,2.47), layer=11, texttype=0))

sram_32x32_pdriver_0 = lib.new_cell('sram_32x32_pdriver_0')
R(sram_32x32_pdriver_0, pwell, [(-0.055,-0.0325,11.605,1.185)])
R(sram_32x32_pdriver_0, nwell, [(-0.055,1.185,11.605,2.505)])
R(sram_32x32_pdriver_0, vtg, [(-0.055,-0.0325,11.605,1.185), (-0.055,1.185,11.605,2.505)])
R(sram_32x32_pdriver_0, metal1, [(0,-0.0325,11.55,0.0325), (4.48,1.0525,4.545,1.1175), (4.5125,1.0525,5.7775,1.1175), (8.4825,1.0525,8.5475,1.1175), (2.6925,1.06,2.7575,1.125), (2.725,1.06,3.44,1.125), (4.48,1.085,4.545,1.0925), (2.6925,1.0925,2.7575,1.13), (1.715,1.0975,1.78,1.1625), (1.7475,1.0975,2.2025,1.1625), (1.0275,1.1125,1.0925,1.1775), (1.06,1.1125,1.515,1.1775), (1.715,1.13,1.78,1.145), (1.0275,1.145,1.0925,1.19), (0.0725,1.1575,0.2075,1.2225), (0.3725,1.1575,0.8275,1.2225), (0,2.4375,11.55,2.5025)])
R(sram_32x32_pdriver_0, boundary2, [(0,0,11.55,2.47), (0,0,11.55,2.47)])
sram_32x32_pdriver_0.add(gdstk.Reference(sram_32x32_pinv_6, (0,0)))
sram_32x32_pdriver_0.add(gdstk.Reference(sram_32x32_pinv_6, (0.6875,0)))
sram_32x32_pdriver_0.add(gdstk.Reference(sram_32x32_pinv_7, (1.375,0)))
sram_32x32_pdriver_0.add(gdstk.Reference(sram_32x32_pinv_8, (2.0625,0)))
sram_32x32_pdriver_0.add(gdstk.Reference(sram_32x32_pinv_9, (3.3,0)))
sram_32x32_pdriver_0.add(gdstk.Reference(sram_32x32_pinv_10, (5.6375,0)))
sram_32x32_pdriver_0.add(gdstk.Label('Z', (8.515,1.085), layer=11, texttype=0))
sram_32x32_pdriver_0.add(gdstk.Label('A', (0.14,1.19), layer=11, texttype=0))
sram_32x32_pdriver_0.add(gdstk.Label('gnd', (5.775,0), layer=11, texttype=0))
sram_32x32_pdriver_0.add(gdstk.Label('vdd', (5.775,2.47), layer=11, texttype=0))

lib.write_gds('sram_32x32_pdriver_0.gds')
